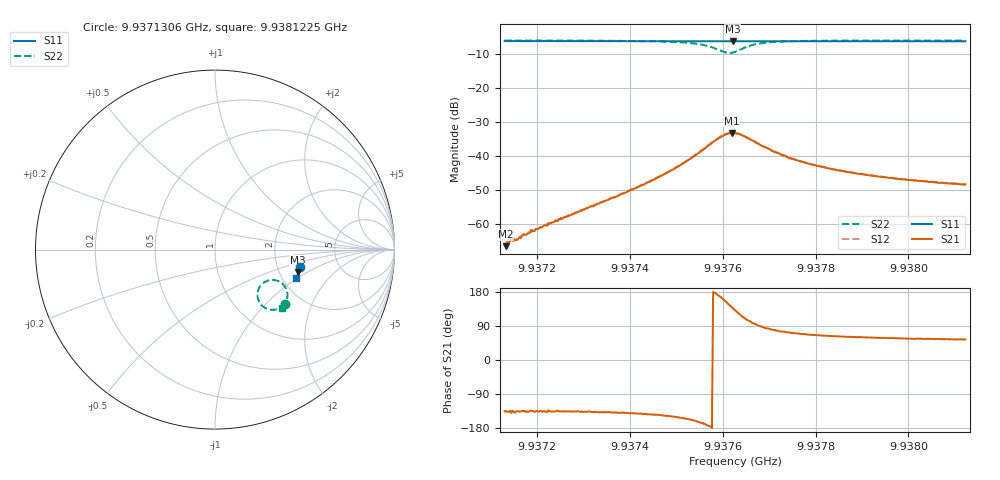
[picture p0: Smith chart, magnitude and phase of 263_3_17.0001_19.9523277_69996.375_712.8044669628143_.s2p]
#  HZ  S  RI  R  50.00
! Rohde & Schwarz Vector Network Analyzer
! Rohde-Schwarz,ZNB20-2Port,1311601062101988,3.16
! Created: UTC 3/20/2024, 11:03:53 PM
! freq[Hz]  re:S11  im:S11  re:S21  im:S21  re:S12  im:S12  re:S22  im:S22
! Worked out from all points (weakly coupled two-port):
!   401 points, 9.9371306 GHz to 9.9381225 GHz, reference 50 ohm
!   highest |S21| = -33.35 dB at 9.9376191 GHz (marker M1); lowest = -66.6 dB at 9.9371331 GHz (marker M2)
!   lowest |S11| = -6.4 dB at 9.9376216 GHz (marker M3), VSWR 2.84, Z = 126 - j41.6 ohm
!   |S11| at or under -10 dB: nowhere
!   |S22| runs from -9.8 to -6.1 dB; largest |S21 - S12| = 0.00093
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9.93713058e9  0.4748 -0.096  -0.000338 -0.000341  -0.000376 -0.00031  0.3927 -0.3008
9.93713306e9  0.4745 -0.0962  -0.000341 -0.000321  -0.000353 -0.000328  0.3926 -0.3008
9.9371405e9  0.4744 -0.0967  -0.000393 -0.000358  -0.000392 -0.000359  0.392 -0.3015
9.93716033e9  0.474 -0.098  -0.000427 -0.000427  -0.000439 -0.00043  0.3905 -0.303
9.93716777e9  0.474 -0.0985  -0.000472 -0.000478  -0.000473 -0.000441  0.3901 -0.3037
9.93718513e9  0.4734 -0.0996  -0.00051 -0.00053  -0.000544 -0.000534  0.3888 -0.305
9.93729672e9  0.4714 -0.1072  -0.0011 -0.00108  -0.00119 -0.00108  0.3781 -0.3141
9.93737112e9  0.4698 -0.1122  -0.00188 -0.00166  -0.00194 -0.00164  0.3677 -0.3215
9.93746287e9  0.4678 -0.1185  -0.00399 -0.00279  -0.00412 -0.00275  0.3453 -0.3317
9.93751991e9  0.4662 -0.1224  -0.00731 -0.00347  -0.0075 -0.00341  0.3151 -0.3354
9.93756206e9  0.4648 -0.1252  -0.0126 -0.00249  -0.013 -0.00206  0.2719 -0.3201
9.93759678e9  0.4631 -0.1268  -0.0184 0.00486  -0.0187 0.00564  0.2363 -0.2541
9.9376191e9  0.4626 -0.1269  -0.0165 0.0137  -0.0161 0.0145  0.2656 -0.1887
9.93762158e9  0.4625 -0.127  -0.0156 0.0146  -0.0153 0.0154  0.2723 -0.1835
9.93762654e9  0.4625 -0.1274  -0.0141 0.0159  -0.0138 0.0168  0.2872 -0.1753
9.93765381e9  0.463 -0.1287  -0.00474 0.0176  -0.00423 0.0178  0.3616 -0.1796
9.93768357e9  0.463 -0.1309  0.000504 0.0141  0.000848 0.0142  0.3957 -0.216
9.93774309e9  0.4621 -0.1353  0.00269 0.0087  0.0029 0.00898  0.4032 -0.263
9.93779268e9  0.461 -0.1387  0.00298 0.00678  0.00311 0.00678  0.399 -0.2821
9.93786212e9  0.4595 -0.1434  0.00278 0.00515  0.0029 0.0052  0.3918 -0.2982
9.93795883e9  0.457 -0.1498  0.0025 0.00398  0.00264 0.00397  0.3832 -0.3113
9.9381225e9  0.4527 -0.1605  0.00221 0.00307  0.00228 0.00305  0.3712 -0.326
